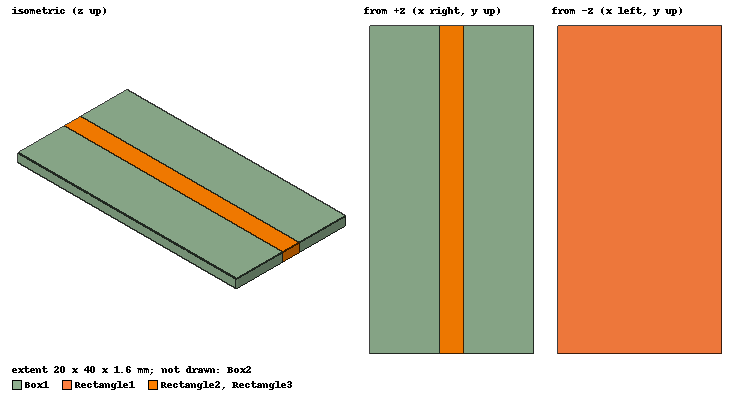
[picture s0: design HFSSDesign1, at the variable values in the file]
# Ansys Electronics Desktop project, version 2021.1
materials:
  vacuum: permittivity=1
  FR4_epoxy: permittivity=4.4 dielectric_loss_tangent=0.02
  air: permittivity=1.0006 permeability=1.0000004

design HFSSDesign1 (HFSS, DrivenModal, model units mm)
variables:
  gnd_x = 20mm
  gnd_y = 40mm
  sub_h = 1.6mm
  w = 1.5mm
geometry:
  Rectangle1 = rectangle(corner=(-gnd_x/2, -gnd_y/2, 0mm), x_size=gnd_x, y_size=gnd_y)
  Box1 [FR4_epoxy] = box(corner=(-10mm, -20mm, 0mm), size=(gnd_x, gnd_y, sub_h))
  Rectangle2 = rectangle(corner=(-(w), -20mm, sub_h), x_size=2*w, y_size=40mm)
  Rectangle3 = rectangle(corner=(1.5mm, 20mm, 1.6mm), z_size=-1.6mm, x_size=-3mm)
  Rectangle4 = rectangle(corner=(-1.5mm, -20mm, 1.6mm), z_size=-1.6mm, x_size=3mm)
  Box2 [air] = box(corner=(-20mm, -40mm, -20mm), size=(40mm, 80mm, 40mm))
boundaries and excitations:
  PerfE1: Perfect E Objects=[Rectangle1, Rectangle2]
  Rad1: Radiation Objects=Box2
  1: Lumped Port Objects=Rectangle3 Modes{Mode1{IntLine{middle of Rectangle3.edge(z opposite corner) -> middle of Rectangle3.edge(z at corner)} CharImp=Zpi RenormImp=50ohm}} Impedance=50ohm
  2: Lumped Port Objects=Rectangle4 Modes{Mode1{IntLine{middle of Rectangle4.edge(z opposite corner) -> middle of Rectangle4.edge(z at corner)} CharImp=Zpi RenormImp=50ohm}} Impedance=50ohm
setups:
  Setup1: HfssDriven Frequency=5GHz MaxDeltaS=0.02 MaximumPasses=6 MinimumPasses=1 MinimumConvergedPasses=1 PercentRefinement=30 BasisOrder=-1 PortAccuracy=2 IterativeResidual=1e-06 DDMSolverResidual=0.0001
    sweep Sweep: 1GHz to 20GHz step 0.1GHz; Type=Fast SaveFields SaveRadFields
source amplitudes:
  1:1: 1W 0deg
  2:1: 0W 0deg
